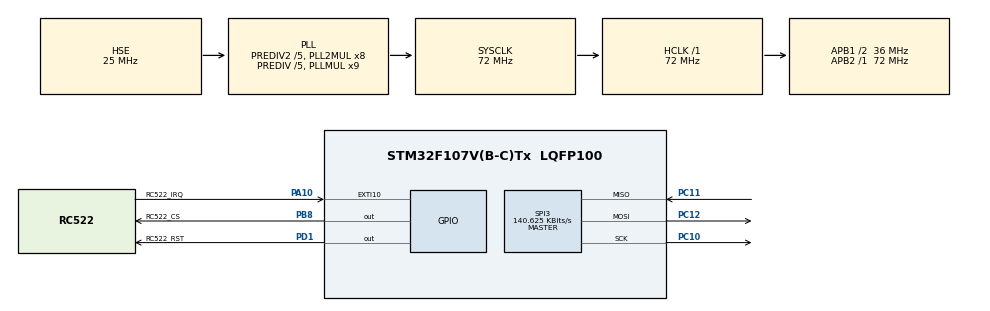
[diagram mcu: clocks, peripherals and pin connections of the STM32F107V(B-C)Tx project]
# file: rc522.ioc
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Mcu.Family=STM32F1
Mcu.Name=STM32F107V(B-C)Tx
Mcu.Package=LQFP100
NVIC.EXTI15_10_IRQn=true\:0\:0\:false\:false\:true\:true\:true
NVIC.PriorityGroup=NVIC_PRIORITYGROUP_4
OSC_IN.Mode=HSE-External-Oscillator
OSC_IN.Signal=RCC_OSC_IN
OSC_OUT.Mode=HSE-External-Oscillator
OSC_OUT.Signal=RCC_OSC_OUT
PA10.GPIO_Label=RC522_IRQ
PA10.Signal=GPXTI10
PA13.Mode=Serial_Wire
PA13.Signal=SYS_JTMS-SWDIO
PA14.Mode=Serial_Wire
PA14.Signal=SYS_JTCK-SWCLK
PB8.GPIO_Label=RC522_CS
PB8.Signal=GPIO_Output
PC10.Mode=Full_Duplex_Master
PC10.Signal=SPI3_SCK
PC11.Mode=Full_Duplex_Master
PC11.Signal=SPI3_MISO
PC12.Mode=Full_Duplex_Master
PC12.Signal=SPI3_MOSI
PD1.GPIO_Label=RC522_RST
PD1.Signal=GPIO_Output
ProjectManager.HeapSize=0x200
ProjectManager.StackSize=0x400
ProjectManager.TargetToolchain=MDK-ARM V5
RCC.AHBFreq_Value=72000000
RCC.APB1CLKDivider=RCC_HCLK_DIV2
RCC.APB1Freq_Value=36000000
RCC.APB1TimFreq_Value=72000000
RCC.APB2Freq_Value=72000000
RCC.APB2TimFreq_Value=72000000
RCC.HCLKFreq_Value=72000000
RCC.HSEDivPLL=RCC_HSE_PREDIV_DIV5
RCC.HSE_VALUE=25000000
RCC.PLLMUL=RCC_PLL_MUL9
RCC.PLLSourceVirtual=RCC_PLLSOURCE_HSE
RCC.Prediv1Source=RCC_PREDIV1_SOURCE_PLL2
RCC.Prediv2=RCC_HSE_PREDIV2_DIV5
RCC.SYSCLKFreq_VALUE=72000000
RCC.SYSCLKSource=RCC_SYSCLKSOURCE_PLLCLK
RCC.USBFreq_Value=48000000
SPI3.BaudRatePrescaler=SPI_BAUDRATEPRESCALER_256
SPI3.CalculateBaudRate=140.625 KBits/s
SPI3.Direction=SPI_DIRECTION_2LINES
SPI3.Mode=SPI_MODE_MASTER
SPI3.VirtualType=VM_MASTER
board=custom

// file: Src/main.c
/* USER CODE BEGIN Header */
/**
  ******************************************************************************
  * @file           : main.c
  * @brief          : Main program body
  ******************************************************************************
  * @attention
  *
  * <h2><center>&copy; Copyright (c) 2020 STMicroelectronics.
  * All rights reserved.</center></h2>
  *
  * This software component is licensed by ST under BSD 3-Clause license,
  * the "License"; You may not use this file except in compliance with the
  * License. You may obtain a copy of the License at:
  *                        opensource.org/licenses/BSD-3-Clause
  *
  ******************************************************************************
  */
/* USER CODE END Header */

#include "main.h"
#include "spi.h"
#include "gpio.h"

/* USER CODE BEGIN PTD */
#include "rc522.h"
#include "stdio.h"
/* USER CODE END PTD */

void SystemClock_Config(void);

/* USER CODE BEGIN 0 */
uint8_t		str[MFRC522_MAX_LEN];												// MFRC522_MAX_LEN = 16
uint8_t		lastID[4];
uint8_t i, j, q;
/* USER CODE END 0 */

int main(void)
{

  /* MCU Configuration--------------------------------------------------------*/

  /* Reset of all peripherals, Initializes the Flash interface and the Systick. */
  HAL_Init();

  /* Configure the system clock */
  SystemClock_Config();

  /* Initialize all configured peripherals */
  MX_GPIO_Init();
  MX_SPI3_Init();
  /* USER CODE BEGIN 2 */
  init_RC522();
	MFRC522_Init();
  /* USER CODE END 2 */

  /* Infinite loop */
  while (1)
  {

    /* USER CODE BEGIN 3 */
			if (!MFRC522_Request(PICC_REQIDL, str)) {
			if (!MFRC522_Anticoll(str)) {
				j = 0;
				q = 0;
				for (i=0; i<4; i++) if (lastID[i] != str[i]) j = 1;
				if (j) {
					for (i=0; i<4; i++) lastID[i] = str[i];
					//send_str("RFID:.:", 0);
					//for (i=0; i<3; i++) SendHEX(str[i], 0);
					//SendHEX(str[3], 2);

					char TAG[8];
					int iT;
					for(iT=0; iT<4;iT++)
					{
						int dxtocharvalue;
						dxtocharvalue = ((int) lastID[iT]);
						char tt[3];
						sprintf(tt,"%02X", dxtocharvalue);

						TAG[(iT *2)] = tt[0];
						TAG[(iT *2)+1] = tt[1];
					}
			}
		}
	}
  }
  /* USER CODE END 3 */
}

void SystemClock_Config(void)
{
  RCC_OscInitTypeDef RCC_OscInitStruct = {0};
  RCC_ClkInitTypeDef RCC_ClkInitStruct = {0};

  /** Initializes the CPU, AHB and APB busses clocks
  */
  RCC_OscInitStruct.OscillatorType = RCC_OSCILLATORTYPE_HSE;
  RCC_OscInitStruct.HSEState = RCC_HSE_ON;
  RCC_OscInitStruct.HSEPredivValue = RCC_HSE_PREDIV_DIV5;
  RCC_OscInitStruct.HSIState = RCC_HSI_ON;
  RCC_OscInitStruct.Prediv1Source = RCC_PREDIV1_SOURCE_PLL2;
  RCC_OscInitStruct.PLL.PLLState = RCC_PLL_ON;
  RCC_OscInitStruct.PLL.PLLSource = RCC_PLLSOURCE_HSE;
  RCC_OscInitStruct.PLL.PLLMUL = RCC_PLL_MUL9;
  RCC_OscInitStruct.PLL2.PLL2State = RCC_PLL2_ON;
  RCC_OscInitStruct.PLL2.PLL2MUL = RCC_PLL2_MUL8;
  RCC_OscInitStruct.PLL2.HSEPrediv2Value = RCC_HSE_PREDIV2_DIV5;
  if (HAL_RCC_OscConfig(&RCC_OscInitStruct) != HAL_OK)
  {
    Error_Handler();
  }
  /** Initializes the CPU, AHB and APB busses clocks
  */
  RCC_ClkInitStruct.ClockType = RCC_CLOCKTYPE_HCLK|RCC_CLOCKTYPE_SYSCLK
                              |RCC_CLOCKTYPE_PCLK1|RCC_CLOCKTYPE_PCLK2;
  RCC_ClkInitStruct.SYSCLKSource = RCC_SYSCLKSOURCE_PLLCLK;
  RCC_ClkInitStruct.AHBCLKDivider = RCC_SYSCLK_DIV1;
  RCC_ClkInitStruct.APB1CLKDivider = RCC_HCLK_DIV2;
  RCC_ClkInitStruct.APB2CLKDivider = RCC_HCLK_DIV1;

  if (HAL_RCC_ClockConfig(&RCC_ClkInitStruct, FLASH_LATENCY_2) != HAL_OK)
  {
    Error_Handler();
  }
  /** Configure the Systick interrupt time
  */
  __HAL_RCC_PLLI2S_ENABLE();
}

void Error_Handler(void)
{
}

/************************ (C) COPYRIGHT STMicroelectronics *****END OF FILE****/
